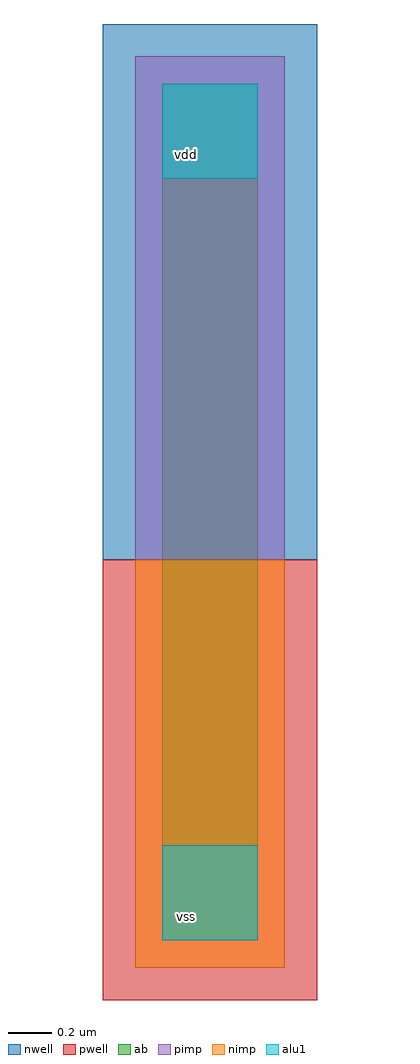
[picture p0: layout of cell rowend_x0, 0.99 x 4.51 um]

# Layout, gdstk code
import gdstk
lib = gdstk.Library(unit=1e-6, precision=2.5e-09)
def R(c, l, rs):  # rectangles x0, y0, x1, y1
    for r in rs: c.add(gdstk.rectangle(r[:2], r[2:], *l))
pwell = (41, 0)
nwell = (42, 0)
pimp = (44, 0)
nimp = (45, 0)
alu1 = (49, 0)
ab = (63, 0)

rowend_x0 = lib.new_cell('rowend_x0')
R(rowend_x0, pwell, [(-0.275,-0.275,0.715,1.76)])
R(rowend_x0, nwell, [(-0.275,1.76,0.715,4.235)])
R(rowend_x0, pimp, [(-0.125,1.76,0.565,4.085)])
R(rowend_x0, nimp, [(-0.125,-0.125,0.565,1.76)])
R(rowend_x0, alu1, [(0,0,0.44,0.44), (0,3.52,0.44,3.96)])
R(rowend_x0, ab, [(0,0,0.44,3.96)])
rowend_x0.add(gdstk.Label('vss', (0.11,0.11), layer=49, texttype=0))
rowend_x0.add(gdstk.Label('vdd', (0.11,3.63), layer=49, texttype=0))

lib.write_gds('rowend_x0.gds')
